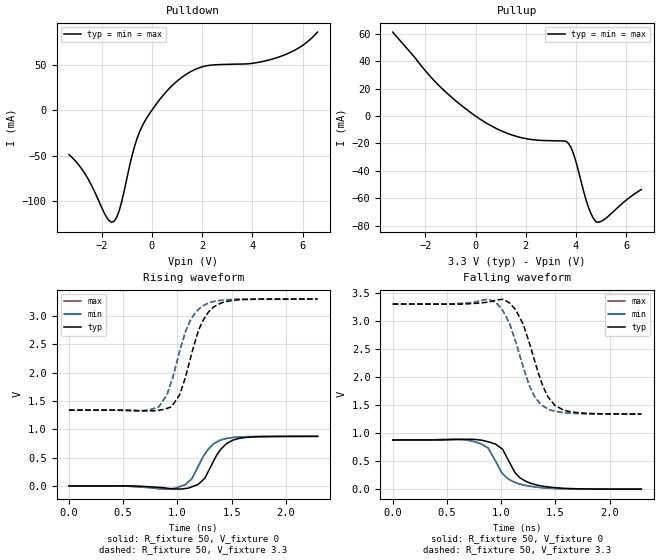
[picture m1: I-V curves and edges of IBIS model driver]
| IBIS file ex2_skewp_tr200ps.ibs created by PYS2IBIS3
| Missouri S&T EMC Lab
[IBIS Ver] 7.1
[File Name] ex2_skewp_tr200ps.ibs
[File Rev] 1.0
[Date] July 28, 2026
[Source] ex2 variant 'skewp' -- output PMOS at half width
[Notes] Parameter selection; sim_time=2.292e-09, tr=tf=2.000e-10.
[Disclaimer] Experimental characterization for pybis observability study.
[Component] MCM Driver 1
[Manufacturer] MegaFLOPS Inc.
[Package]
| variable   typ   min   max
R_pkg 0 NA NA
L_pkg 0H NA NA
C_pkg 0F NA NA
[Pin]  signal_name   model_name   R_pin   L_pin   C_pin
vdd   vdd   POWER
gnd   gnd   GND
| in in dummy
out   out   driver
| End of Component
| Models and submodels in the file (1): driver (Output)
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[Model] driver
Model_type Output
Polarity Non-Inverting
Enable Active-Low
Vinl  = 0.8V
Vinh  = 2V
C_comp 5.0000pF 5.0000pF 5.0000pF
[Temperature Range] 27.0000 27.0000 27.0000
[Voltage Range] 3.3000V 3.3000V 3.3000V
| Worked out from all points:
|   slope of the pulldown table from 0 to 0.495 V, typ, clamps not added: 27.4 ohm
|   slope of the pullup table from 0 to 0.495 V, typ, clamps not added: 85.1 ohm
|   rising waveform, R_fixture 50, V_fixture 0: 20-80 % time 164ps typ, 165ps min, 165ps max; typ from 0 V to 0.876 V
|   rising waveform, R_fixture 50, V_fixture 3.3: 20-80 % time 190ps typ, 190ps min, 190ps max; typ from 1.34 V to 3.3 V
|   falling waveform, R_fixture 50, V_fixture 0: 20-80 % time 179ps typ, 183ps min, 183ps max; typ from 0.876 V to 0 V
|   falling waveform, R_fixture 50, V_fixture 3.3: 20-80 % time 202ps typ, 202ps min, 202ps max; typ from 3.3 V to 1.34 V
[Pulldown]
| Voltage   I(typ)   I(min)   I(max)
-3.3V     -48.93mA   -48.93mA   -48.93mA
-2.6V     -72.86mA   -72.86mA   -72.86mA
-1.8V     -118.2mA   -118.2mA   -118.2mA
-1.5V     -122.5mA   -122.5mA   -122.5mA
-1.3V     -110.9mA   -110.9mA   -110.9mA
-800mV    -51.3mA    -51.3mA    -51.3mA
-500mV    -24.59mA   -24.59mA   -24.59mA
100mV     4.004mA    4.004mA    4.004mA
900mV     29.68mA    29.68mA    29.68mA
2.1V      48.76mA    48.76mA    48.76mA
5.1V      59.31mA    59.31mA    59.31mA
6.6V      86.45mA    86.45mA    86.45mA
[Pullup]
| Voltage   I(typ)   I(min)   I(max)
-3.3V     61.37mA    61.37mA    61.37mA
-1.4V     21.26mA    21.26mA    21.26mA
-600mV    8.306mA    8.306mA    8.306mA
300mV     -3.662mA   -3.662mA   -3.662mA
1.7V      -15.2mA    -15.2mA    -15.2mA
3.6V      -18.41mA   -18.41mA   -18.41mA
3.7V      -19.94mA   -19.94mA   -19.94mA
3.9V      -27.54mA   -27.54mA   -27.54mA
4.5V      -66.93mA   -66.93mA   -66.93mA
4.8V      -77.41mA   -77.41mA   -77.41mA
5.1V      -75.86mA   -75.86mA   -75.86mA
6.6V      -53.64mA   -53.64mA   -53.64mA
[Ramp]
| variable   typ   min   max
dV/dt_r 0.5257/0.1643n 0.5258/0.1649n 0.5258/0.1649n
dV/dt_f 1.1766/0.2014n 1.1766/0.2021n 1.1766/0.2021n
R_load = 50
[Rising Waveform]
R_fixture = 50
V_fixture = 0
|time   V(typ)   V(min)   V(max)
0s        3.917nV    3.917nV    3.917nV
904.1ps   -39.89mV   -56.38mV   -56.38mV
1.095ns   -41.8mV    61.8mV     61.8mV
1.131ns   -15.8mV    122.9mV    122.9mV
1.25ns    130.3mV    557.2mV    557.2mV
1.331ns   431.5mV    740.2mV    740.2mV
1.386ns   610.5mV    802.4mV    802.4mV
1.452ns   747.5mV    839.7mV    839.7mV
1.567ns   839.8mV    864.6mV    864.6mV
2.292ns   876.2mV    876.3mV    876.3mV
[Rising Waveform]
R_fixture = 50
V_fixture = 3.3
|time   V(typ)   V(min)   V(max)
0s        1.338V     1.338V     1.338V
745.7ps   1.325V     1.344V     1.344V
828.3ps   1.336V     1.397V     1.397V
945.4ps   1.397V     1.848V     1.848V
1.021ns   1.612V     2.383V     2.383V
1.115ns   2.224V     2.907V     2.907V
1.193ns   2.741V     3.115V     3.115V
1.292ns   3.082V     3.236V     3.236V
1.54ns    3.283V     3.295V     3.295V
2.292ns   3.3V       3.3V       3.3V
[Falling Waveform]
R_fixture = 50
V_fixture = 0
|time   V(typ)   V(min)   V(max)
0s        876.4mV    876.4mV    876.4mV
656.2ps   889.1mV    884.9mV    884.9mV
814.6ps   875.8mV    807.7mV    807.7mV
885.7ps   844.1mV    712.6mV    712.6mV
1.012ns   713.4mV    282.4mV    282.4mV
1.049ns   582.9mV    205.9mV    205.9mV
1.127ns   296.1mV    122.3mV    122.3mV
1.2ns     169.5mV    75.49mV    75.49mV
1.549ns   17.84mV    8.688mV    8.688mV
2.292ns   164.3uV    78.58uV    78.58uV
[Falling Waveform]
R_fixture = 50
V_fixture = 3.3
|time   V(typ)   V(min)   V(max)
0s        3.3V       3.3V       3.3V
878.8ps   3.334V     3.389V     3.389V
1.016ns   3.385V     3.177V     3.177V
1.078ns   3.318V     2.95V      2.95V
1.202ns   2.945V     2.175V     2.175V
1.301ns   2.336V     1.676V     1.676V
1.37ns    1.919V     1.5V       1.5V
1.432ns   1.645V     1.431V     1.431V
1.574ns   1.41V      1.365V     1.365V
2.292ns   1.339V     1.339V     1.339V
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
